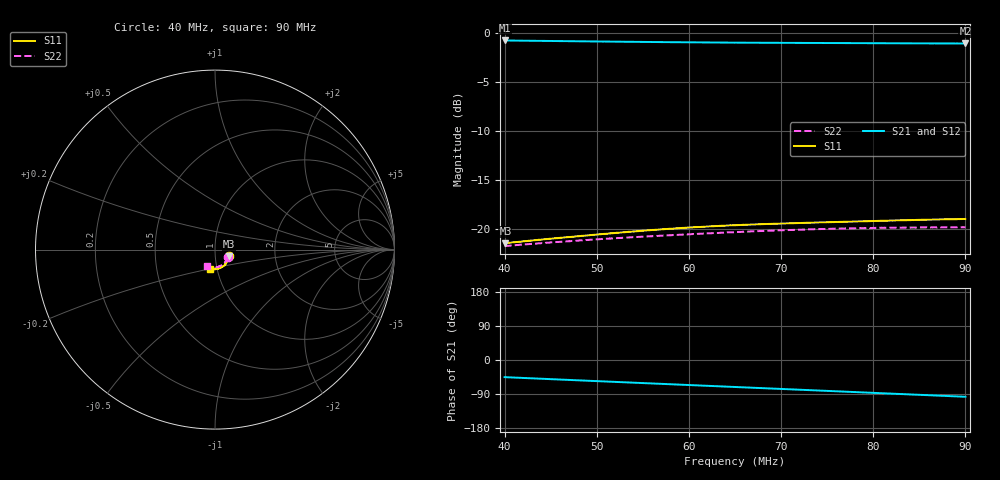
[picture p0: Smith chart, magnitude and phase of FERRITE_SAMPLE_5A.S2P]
!Agilent Technologies,E5061B,MY49102235,A.02.00
!Date: Mon Jul 03 10:27:24 2023
!Data & Calibration Information:
!Freq	S11:SOLT2(ON)	S21:SOLT2(ON)	S12:SOLT2(ON)	S22:SOLT2(ON)
# Hz S RI R 50
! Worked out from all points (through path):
!   1600 points, 40 MHz to 90 MHz, reference 50 ohm
!   highest |S21| = -0.72 dB at 40 MHz (marker M1); lowest = -1.0 dB at 90 MHz (marker M2)
!   group delay of S21, straight-line fit = 2.87 ns
!   lowest |S11| = -21.5 dB at 40.09 MHz (marker M3), VSWR 1.18, Z = 58.1 - j4.24 ohm
!   |S11| at or under -10 dB: start of sweep to end of sweep
!   |S22| runs from -21.8 to -19.9 dB; largest |S21 - S12| = 0.0012
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4e7  0.0761 -0.036  0.6483 -0.6539  0.6485 -0.6528  0.0711 -0.0394
4.009381e7  0.076 -0.0362  0.6469 -0.6546  0.6473 -0.654  0.0711 -0.0396
4.372108e7  0.0747 -0.0455  0.5993 -0.6932  0.5996 -0.6928  0.0683 -0.049
4.600375e7  0.0732 -0.0517  0.5683 -0.7158  0.5686 -0.7153  0.0657 -0.0547
4.834897e7  0.0712 -0.058  0.5357 -0.7374  0.536 -0.7369  0.0627 -0.0605
5.23202e7  0.0663 -0.0684  0.479 -0.7709  0.4791 -0.7706  0.0563 -0.0694
5.482176e7  0.0626 -0.0746  0.4422 -0.7898  0.4425 -0.7896  0.0515 -0.0748
5.666667e7  0.0594 -0.079  0.4148 -0.8026  0.4149 -0.8024  0.0477 -0.0784
6.06379e7  0.0519 -0.0876  0.3552 -0.8272  0.3554 -0.8268  0.0388 -0.0854
6.273296e7  0.0473 -0.0914  0.3232 -0.8387  0.3234 -0.8381  0.0336 -0.0887
6.501563e7  0.0419 -0.0952  0.288 -0.8497  0.2884 -0.8492  0.0278 -0.0919
6.911194e7  0.0319 -0.1009  0.2247 -0.8665  0.2249 -0.8659  0.0164 -0.0962
7.089431e7  0.027 -0.1029  0.1964 -0.8723  0.1969 -0.8717  0.0112 -0.0976
7.33646e7  0.0204 -0.1054  0.1576 -0.8795  0.158 -0.8787  0.00402 -0.0991
7.558474e7  0.0144 -0.1071  0.1222 -0.8841  0.1229 -0.8836  -0.00253 -0.0998
7.752345e7  0.0089 -0.1082  0.0909 -0.8873  0.0917 -0.8868  -0.00826 -0.0999
7.939962e7  0.00369 -0.1091  0.0608 -0.8893  0.0613 -0.8888  -0.0137 -0.0998
8.16823e7  -0.00287 -0.1098  0.0241 -0.8903  0.0248 -0.89  -0.0205 -0.0989
8.362101e7  -0.00836 -0.1101  -0.00705 -0.89  -0.0066 -0.8898  -0.0261 -0.0978
8.59975e7  -0.015 -0.1101  -0.0452 -0.8883  -0.0448 -0.8881  -0.0327 -0.096
8.971857e7  -0.0252 -0.1091  -0.1046 -0.8826  -0.1044 -0.8821  -0.0424 -0.0923
9e7  -0.026 -0.1089  -0.1088 -0.8817  -0.1088 -0.8816  -0.0431 -0.092
